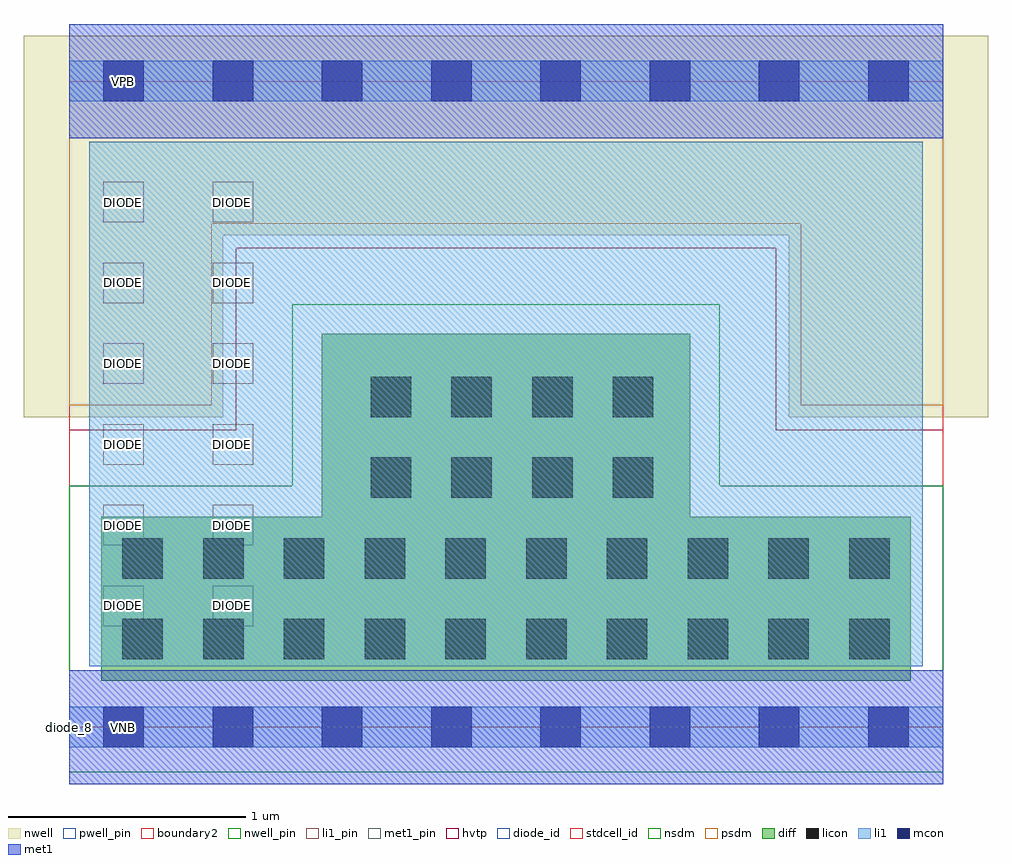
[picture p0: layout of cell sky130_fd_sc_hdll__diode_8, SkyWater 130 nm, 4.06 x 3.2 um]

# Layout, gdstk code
import gdstk
lib = gdstk.Library(unit=1e-6, precision=1e-09)
def R(c, l, rs):  # rectangles x0, y0, x1, y1
    for r in rs: c.add(gdstk.rectangle(r[:2], r[2:], *l))
def A(c, l, x, y, w, h, nx, ny, dx, dy):  # array of equal rectangles
    R(c, l, [(x+i*dx, y+j*dy, x+i*dx+w, y+j*dy+h) for i in range(nx) for j in range(ny)])
def P(c, l, *ps):  # polygons
    for p in ps: c.add(gdstk.Polygon(p, *l))
nwell_pin = (64, 16)
nwell = (64, 20)
diff = (65, 20)
licon = (66, 44)
li1_pin = (67, 16)
li1 = (67, 20)
mcon = (67, 44)
met1_pin = (68, 16)
met1 = (68, 20)
hvtp = (78, 44)
stdcell_id = (81, 4)
diode_id = (81, 23)
nsdm = (93, 44)
psdm = (94, 20)
pwell_pin = (122, 16)
boundary2 = (236, 0)

sky130_fd_sc_hdll__diode = lib.new_cell('sky130_fd_sc_hdll__diode_8')
R(sky130_fd_sc_hdll__diode, nwell_pin, [(0.145,2.635,0.315,2.805)])
P(sky130_fd_sc_hdll__diode, nwell, [(3.87,2.91),(-0.19,2.91),(-0.19,1.305),(0.65,1.305),(0.65,2.07),(3.03,2.07),(3.03,1.305),(3.87,1.305)])
P(sky130_fd_sc_hdll__diode, diff, [(3.545,0.885),(2.615,0.885),(2.615,1.655),(1.065,1.655),(1.065,0.885),(0.135,0.885),(0.135,0.195),(3.545,0.195)])
A(sky130_fd_sc_hdll__diode, licon, 0.225, 0.285, 0.17, 0.17, 10, 2, 0.34, 0.34)
A(sky130_fd_sc_hdll__diode, licon, 1.27, 0.965, 0.17, 0.17, 4, 2, 0.34, 0.34)
A(sky130_fd_sc_hdll__diode, li1_pin, 0.145, 0.425, 0.17, 0.17, 1, 6, 0, 0.34)
A(sky130_fd_sc_hdll__diode, li1_pin, 0.605, 0.425, 0.17, 0.17, 1, 6, 0, 0.34)
R(sky130_fd_sc_hdll__diode, li1, [(0.085,0.255,3.595,2.465)])
A(sky130_fd_sc_hdll__diode, mcon, 0.145, -0.085, 0.17, 0.17, 8, 2, 0.46, 2.72)
R(sky130_fd_sc_hdll__diode, met1_pin, [(0.145,-0.085,0.315,0.085), (0.145,2.635,0.315,2.805)])
P(sky130_fd_sc_hdll__diode, hvtp, [(3.68,2.72),(0,2.72),(0,1.25),(0.705,1.25),(0.705,2.015),(2.975,2.015),(2.975,1.25),(3.68,1.25)])
R(sky130_fd_sc_hdll__diode, stdcell_id, [(0,0,3.68,2.72)])
P(sky130_fd_sc_hdll__diode, diode_id, [(3.545,0.885),(2.615,0.885),(2.615,1.655),(1.065,1.655),(1.065,0.885),(0.135,0.885),(0.135,0.195),(3.545,0.195)])
R(sky130_fd_sc_hdll__diode, nsdm, [(0,-0.19,3.68,1.015), (0.94,1.015,2.74,1.78)])
P(sky130_fd_sc_hdll__diode, psdm, [(3.68,2.91),(0,2.91),(0,1.355),(0.6,1.355),(0.6,2.12),(3.08,2.12),(3.08,1.355),(3.68,1.355)])
R(sky130_fd_sc_hdll__diode, pwell_pin, [(0.145,-0.085,0.315,0.085)])
R(sky130_fd_sc_hdll__diode, boundary2, [(0,0,3.68,2.72)])
sky130_fd_sc_hdll__diode.add(gdstk.FlexPath([(0,0),(3.68,0)], 0.17, ends="flush", simple_path=True, layer=67, datatype=20))  # li1
sky130_fd_sc_hdll__diode.add(gdstk.FlexPath([(0,2.72),(3.68,2.72)], 0.17, ends="flush", simple_path=True, layer=67, datatype=20))  # li1
sky130_fd_sc_hdll__diode.add(gdstk.FlexPath([(0,0),(3.68,0)], 0.48, ends="flush", simple_path=True, layer=68, datatype=20))  # met1
sky130_fd_sc_hdll__diode.add(gdstk.FlexPath([(0,2.72),(3.68,2.72)], 0.48, ends="flush", simple_path=True, layer=68, datatype=20))  # met1
sky130_fd_sc_hdll__diode.add(gdstk.Label('diode_8', (0,0), layer=83, texttype=44))
sky130_fd_sc_hdll__diode.add(gdstk.Label('VNB', (0.23,0), layer=64, texttype=59))
sky130_fd_sc_hdll__diode.add(gdstk.Label('VPB', (0.23,2.72), layer=64, texttype=5))
sky130_fd_sc_hdll__diode.add(gdstk.Label('VGND', (0.23,0), layer=68, texttype=5))
sky130_fd_sc_hdll__diode.add(gdstk.Label('VPWR', (0.23,2.72), layer=68, texttype=5))
sky130_fd_sc_hdll__diode.add(gdstk.Label('DIODE', (0.23,0.51), layer=67, texttype=5))
sky130_fd_sc_hdll__diode.add(gdstk.Label('DIODE', (0.23,0.85), layer=67, texttype=5))
sky130_fd_sc_hdll__diode.add(gdstk.Label('DIODE', (0.69,0.85), layer=67, texttype=5))
sky130_fd_sc_hdll__diode.add(gdstk.Label('DIODE', (0.69,1.19), layer=67, texttype=5))
sky130_fd_sc_hdll__diode.add(gdstk.Label('DIODE', (0.69,0.51), layer=67, texttype=5))
sky130_fd_sc_hdll__diode.add(gdstk.Label('DIODE', (0.69,1.87), layer=67, texttype=5))
sky130_fd_sc_hdll__diode.add(gdstk.Label('DIODE', (0.23,1.19), layer=67, texttype=5))
sky130_fd_sc_hdll__diode.add(gdstk.Label('DIODE', (0.23,1.87), layer=67, texttype=5))
sky130_fd_sc_hdll__diode.add(gdstk.Label('DIODE', (0.69,2.21), layer=67, texttype=5))
sky130_fd_sc_hdll__diode.add(gdstk.Label('DIODE', (0.23,2.21), layer=67, texttype=5))
sky130_fd_sc_hdll__diode.add(gdstk.Label('DIODE', (0.23,1.53), layer=67, texttype=5))
sky130_fd_sc_hdll__diode.add(gdstk.Label('DIODE', (0.69,1.53), layer=67, texttype=5))

lib.write_gds('sky130_fd_sc_hdll__diode_8.gds')
